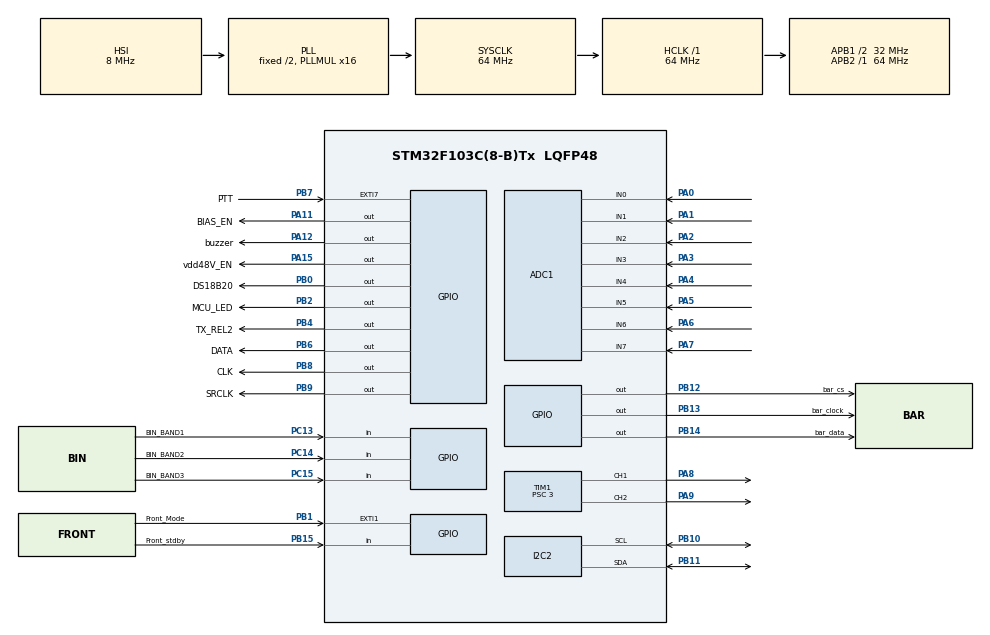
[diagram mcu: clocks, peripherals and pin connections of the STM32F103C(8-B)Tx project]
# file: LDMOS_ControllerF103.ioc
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ADC1.Channel-0\#ChannelRegularConversion=ADC_CHANNEL_0
ADC1.Channel-1\#ChannelRegularConversion=ADC_CHANNEL_1
ADC1.Channel-2\#ChannelRegularConversion=ADC_CHANNEL_2
ADC1.Channel-3\#ChannelRegularConversion=ADC_CHANNEL_3
ADC1.Channel-4\#ChannelRegularConversion=ADC_CHANNEL_4
ADC1.Channel-5\#ChannelRegularConversion=ADC_CHANNEL_5
ADC1.Channel-6\#ChannelRegularConversion=ADC_CHANNEL_6
ADC1.Channel-7\#ChannelRegularConversion=ADC_CHANNEL_7
ADC1.ContinuousConvMode=ENABLE
ADC1.NbrOfConversion=8
ADC1.NbrOfConversionFlag=1
ADC1.Rank-0\#ChannelRegularConversion=1
ADC1.Rank-1\#ChannelRegularConversion=2
ADC1.Rank-2\#ChannelRegularConversion=3
ADC1.Rank-3\#ChannelRegularConversion=4
ADC1.Rank-4\#ChannelRegularConversion=5
ADC1.Rank-5\#ChannelRegularConversion=6
ADC1.Rank-6\#ChannelRegularConversion=7
ADC1.Rank-7\#ChannelRegularConversion=8
ADC1.SamplingTime-0\#ChannelRegularConversion=ADC_SAMPLETIME_28CYCLES_5
ADC1.SamplingTime-1\#ChannelRegularConversion=ADC_SAMPLETIME_28CYCLES_5
ADC1.SamplingTime-2\#ChannelRegularConversion=ADC_SAMPLETIME_28CYCLES_5
ADC1.SamplingTime-3\#ChannelRegularConversion=ADC_SAMPLETIME_28CYCLES_5
ADC1.SamplingTime-4\#ChannelRegularConversion=ADC_SAMPLETIME_28CYCLES_5
ADC1.SamplingTime-5\#ChannelRegularConversion=ADC_SAMPLETIME_28CYCLES_5
ADC1.SamplingTime-6\#ChannelRegularConversion=ADC_SAMPLETIME_28CYCLES_5
ADC1.SamplingTime-7\#ChannelRegularConversion=ADC_SAMPLETIME_28CYCLES_5
ADC1.master=1
Dma.ADC1.0.Direction=DMA_PERIPH_TO_MEMORY
Dma.ADC1.0.Instance=DMA1_Channel1
Dma.ADC1.0.MemDataAlignment=DMA_MDATAALIGN_HALFWORD
Dma.ADC1.0.MemInc=DMA_MINC_ENABLE
Dma.ADC1.0.Mode=DMA_CIRCULAR
Dma.ADC1.0.PeriphDataAlignment=DMA_PDATAALIGN_HALFWORD
Dma.ADC1.0.PeriphInc=DMA_PINC_DISABLE
Dma.ADC1.0.Priority=DMA_PRIORITY_LOW
Dma.I2C2_RX.2.Direction=DMA_PERIPH_TO_MEMORY
Dma.I2C2_RX.2.Instance=DMA1_Channel5
Dma.I2C2_RX.2.MemDataAlignment=DMA_MDATAALIGN_BYTE
Dma.I2C2_RX.2.MemInc=DMA_MINC_ENABLE
Dma.I2C2_RX.2.Mode=DMA_NORMAL
Dma.I2C2_RX.2.PeriphDataAlignment=DMA_PDATAALIGN_BYTE
Dma.I2C2_RX.2.PeriphInc=DMA_PINC_DISABLE
Dma.I2C2_RX.2.Priority=DMA_PRIORITY_LOW
Dma.I2C2_TX.1.Direction=DMA_MEMORY_TO_PERIPH
Dma.I2C2_TX.1.Instance=DMA1_Channel4
Dma.I2C2_TX.1.MemDataAlignment=DMA_MDATAALIGN_BYTE
Dma.I2C2_TX.1.MemInc=DMA_MINC_ENABLE
Dma.I2C2_TX.1.Mode=DMA_NORMAL
Dma.I2C2_TX.1.PeriphDataAlignment=DMA_PDATAALIGN_BYTE
Dma.I2C2_TX.1.PeriphInc=DMA_PINC_DISABLE
Dma.I2C2_TX.1.Priority=DMA_PRIORITY_LOW
Dma.Request0=ADC1
Dma.Request1=I2C2_TX
Dma.Request2=I2C2_RX
FREERTOS.Tasks01=Measure_ADC_Tas,24,128,Measure_ADC_Task,Default,NULL,Dynamic,NULL,NULL;TXRX_Task,24,128,Start_Task_TXRX,Default,NULL,Dynamic,NULL,NULL;LPF_Task,16,128,Start_LPF_Task,Default,NULL,Dynamic,NULL,NULL;Display_Task,8,128,Start_Display_Task,Default,NULL,Dynamic,NULL,NULL
FREERTOS.configUSE_NEWLIB_REENTRANT=1
Mcu.Family=STM32F1
Mcu.Name=STM32F103C(8-B)Tx
Mcu.Package=LQFP48
NVIC.DMA1_Channel1_IRQn=true\:5\:0\:false\:false\:true\:true\:false\:true\:true
NVIC.DMA1_Channel4_IRQn=true\:5\:0\:false\:false\:true\:true\:false\:true\:true
NVIC.DMA1_Channel5_IRQn=true\:5\:0\:false\:false\:true\:true\:false\:true\:true
NVIC.EXTI9_5_IRQn=true\:5\:0\:false\:false\:true\:true\:true\:true\:true
NVIC.I2C2_ER_IRQn=true\:5\:0\:false\:false\:true\:true\:true\:true\:true
NVIC.I2C2_EV_IRQn=true\:5\:0\:false\:false\:true\:true\:true\:true\:true
NVIC.PriorityGroup=NVIC_PRIORITYGROUP_4
NVIC.TIM4_IRQn=true\:15\:0\:false\:false\:true\:false\:false\:true\:true
NVIC.TimeBase=TIM4_IRQn
NVIC.TimeBaseIP=TIM4
PA0-WKUP.Signal=ADCx_IN0
PA1.Signal=ADCx_IN1
PA11.GPIO_Label=BIAS_EN
PA11.Signal=GPIO_Output
PA12.GPIO_Label=buzzer
PA12.GPIO_PuPd=GPIO_PULLDOWN
PA12.Signal=GPIO_Output
PA13.Mode=Serial_Wire
PA13.Signal=SYS_JTMS-SWDIO
PA14.Mode=Serial_Wire
PA14.Signal=SYS_JTCK-SWCLK
PA15.GPIO_Label=vdd48V_EN
PA15.Signal=GPIO_Output
PA2.Signal=ADCx_IN2
PA3.Signal=ADCx_IN3
PA4.Signal=ADCx_IN4
PA5.Signal=ADCx_IN5
PA6.Signal=ADCx_IN6
PA7.Signal=ADCx_IN7
PA8.GPIO_Speed=GPIO_SPEED_FREQ_HIGH
PA8.Signal=S_TIM1_CH1
PA9.GPIO_Speed=GPIO_SPEED_FREQ_HIGH
PA9.Signal=S_TIM1_CH2
PB0.GPIO_Label=DS18B20
PB0.Signal=GPIO_Output
PB1.GPIO_Label=Front_Mode
PB1.GPIO_ModeDefaultEXTI=GPIO_MODE_IT_RISING
PB1.GPIO_PuPd=GPIO_PULLDOWN
PB1.Signal=GPXTI1
PB10.Mode=I2C
PB10.Signal=I2C2_SCL
PB11.Mode=I2C
PB11.Signal=I2C2_SDA
PB12.GPIO_Label=bar_cs
PB12.GPIO_Speed=GPIO_SPEED_FREQ_HIGH
PB12.Signal=GPIO_Output
PB13.GPIO_Label=bar_clock
PB13.GPIO_Speed=GPIO_SPEED_FREQ_HIGH
PB13.Signal=GPIO_Output
PB14.GPIO_Label=bar_data
PB14.GPIO_Speed=GPIO_SPEED_FREQ_HIGH
PB14.Signal=GPIO_Output
PB15.GPIO_Label=Front_stdby
PB15.GPIO_PuPd=GPIO_PULLDOWN
PB15.Signal=GPIO_Input
PB2.GPIO_Label=MCU_LED
PB2.Signal=GPIO_Output
PB4.GPIO_Label=TX_REL2
PB4.Signal=GPIO_Output
PB6.GPIO_Label=DATA
PB6.GPIO_Speed=GPIO_SPEED_FREQ_HIGH
PB6.Signal=GPIO_Output
PB7.GPIO_Label=PTT
PB7.GPIO_ModeDefaultEXTI=GPIO_MODE_IT_RISING
PB7.GPIO_PuPd=GPIO_NOPULL
PB7.Signal=GPXTI7
PB8.GPIO_Label=CLK
PB8.GPIO_Speed=GPIO_SPEED_FREQ_HIGH
PB8.Signal=GPIO_Output
PB9.GPIO_Label=SRCLK
PB9.GPIO_Speed=GPIO_SPEED_FREQ_HIGH
PB9.Signal=GPIO_Output
PC13-TAMPER-RTC.GPIO_Label=BIN_BAND1
PC13-TAMPER-RTC.GPIO_PuPd=GPIO_PULLDOWN
PC13-TAMPER-RTC.Signal=GPIO_Input
PC14-OSC32_IN.GPIO_Label=BIN_BAND2
PC14-OSC32_IN.GPIO_PuPd=GPIO_PULLDOWN
PC14-OSC32_IN.Signal=GPIO_Input
PC15-OSC32_OUT.GPIO_Label=BIN_BAND3
PC15-OSC32_OUT.GPIO_PuPd=GPIO_PULLDOWN
PC15-OSC32_OUT.Signal=GPIO_Input
ProjectManager.HeapSize=0x200
ProjectManager.StackSize=0x400
ProjectManager.TargetToolchain=STM32CubeIDE
RCC.ADCPresc=RCC_ADCPCLK2_DIV8
RCC.AHBFreq_Value=64000000
RCC.APB1CLKDivider=RCC_HCLK_DIV2
RCC.APB1Freq_Value=32000000
RCC.APB1TimFreq_Value=64000000
RCC.APB2Freq_Value=64000000
RCC.APB2TimFreq_Value=64000000
RCC.HCLKFreq_Value=64000000
RCC.PLLMUL=RCC_PLL_MUL16
RCC.SYSCLKFreq_VALUE=64000000
RCC.SYSCLKSource=RCC_SYSCLKSOURCE_PLLCLK
RCC.USBFreq_Value=64000000
SH.ADCx_IN0.0=ADC1_IN0,IN0
SH.ADCx_IN1.0=ADC1_IN1,IN1
SH.ADCx_IN2.0=ADC1_IN2,IN2
SH.ADCx_IN3.0=ADC1_IN3,IN3
SH.ADCx_IN4.0=ADC1_IN4,IN4
SH.ADCx_IN5.0=ADC1_IN5,IN5
SH.ADCx_IN6.0=ADC1_IN6,IN6
SH.ADCx_IN7.0=ADC1_IN7,IN7
SH.S_TIM1_CH1.0=TIM1_CH1,PWM Generation1 CH1
SH.S_TIM1_CH2.0=TIM1_CH2,PWM Generation2 CH2
TIM1.AutoReloadPreload=TIM_AUTORELOAD_PRELOAD_ENABLE
TIM1.Channel-PWM\ Generation1\ CH1=TIM_CHANNEL_1
TIM1.Channel-PWM\ Generation2\ CH2=TIM_CHANNEL_2
TIM1.Period=1000
TIM1.Prescaler=3
TIM2.Prescaler=63
VP_FREERTOS_VS_CMSIS_V2.Mode=CMSIS_V2
VP_SYS_VS_tim4.Mode=TIM4
VP_TIM1_VS_ClockSourceINT.Mode=Internal
VP_TIM2_VS_ClockSourceINT.Mode=Internal
board=custom

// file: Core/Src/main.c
/* USER CODE BEGIN Header */
/**
  ******************************************************************************
  * @file           : main.c
  * @brief          : Main program body
  ******************************************************************************
  * @attention
  *
  * Copyright (c) 2023 STMicroelectronics.
  * All rights reserved.
  *
  * This software is licensed under terms that can be found in the LICENSE file
  * in the root directory of this software component.
  * If no LICENSE file comes with this software, it is provided AS-IS.
  *
  ******************************************************************************
  */
/* USER CODE END Header */
#include "main.h"
#include "cmsis_os.h"
#include "adc.h"
#include "dma.h"
#include "i2c.h"
#include "tim.h"
#include "gpio.h"

/* USER CODE BEGIN Includes */
//#include <stdbool.h>
/* USER CODE BEGIN Includes */
#include "stm32f1xx_hal.h"
#include "74hc595.h"
#include "onewire.h"
#include "ds18b20.h"
#include "lcd_hd44780_i2c.h"
#include "fault_handler_func.h"
#include "globals.h"
/* USER CODE END Includes */

/* USER CODE BEGIN PV */
//ADC DMA Buffer
uint16_t ADC_val[ADC_BUFFER_SIZE];
uint16_t ADC_avg_val[ADC_BUFFER_SIZE];

//Input coupler
float in_fwd_u = 0;
float in_ref_u = 0;
float in_fwd_pwr = 0;
float in_ref_pwr = 0;

//Deck coupler
uint16_t deck_fwd_pwr = 0;
uint16_t deck_ref_pwr = 0;
float deck_swr = 0;

//LPF coupler
uint16_t lpf_fwd_pwr = 0;
uint16_t lpf_ref_pwr = 0;
float lpf_swr = 0;

//Coupler voltages
float deck_fwd_u = 0;
float deck_ref_u = 0;
float lpf_fwd_u = 0;
float lpf_ref_u = 0;

//Power bus
float u_48v = 0;
float i_48v = 0;    //drain current
float i_48v_sensor_u = 0; //ACS current sensor output voltage is half the VCC, reading this is better for accuracy in comparison to 5V/2 because error of linear reg and ADC resolution stacks up to offset real result.
float sensor_vcc = 0; //Take at least one reading when PTT is off

//Sensors
float temperature_arr[_DS18B20_MAX_SENSORS];

//float voltage_test;
//float voltageArray[200];
//float temperaturearray[200];
//uint16_t test_counter = 0;

uint16_t fan_tacho1 = 0;
uint16_t fan_tacho2 = 0;

//Band selection
uint8_t  selected_band = 0;
uint8_t  band_mode = 0;	//TODO simulate EEPROM to save last used mode and band
uint8_t	 mode_read = 0;
float band_analogU = 0;
uint16_t band_analogU_mV = 0;
uint16_t band_man_sel = 0;
bool band_binary_sel[3] = {0};

//Flags
uint16_t fault = 0; //Different number can be set by conditional statement and then handled by separate function
uint8_t bias_flag = 0;
uint8_t ptt_status = 0;
uint8_t stdby_flag = 0;

/* USER CODE END PV */

void SystemClock_Config(void);
void MX_FREERTOS_Init(void);
/* USER CODE BEGIN PFP */

void Enable_bias(){
	HAL_GPIO_WritePin(BIAS_EN_GPIO_Port, BIAS_EN_Pin, GPIO_PIN_SET);
	//bias_flag = 1;
}

void Disable_bias(){
	HAL_GPIO_WritePin(BIAS_EN_GPIO_Port, BIAS_EN_Pin, GPIO_PIN_RESET);
	//bias_flag = 0;
}

int mapRange(int input, int inMin, int inMax, int outMin, int outMax){
	return ((input - inMin) * (outMax - outMin) / (inMax - inMin) + outMin);
}

uint32_t linspace(double start, double end, int numPoints){

   uint32_t* array = (double*)malloc(numPoints * sizeof(double));
    uint8_t step = (end - start) / (numPoints - 1);

    for (int i = 0; i < numPoints; i++) {
        array[i] = start + i * step;
    }

    return array;
}

void Switch_band(uint8_t band){
	ShiftRegister74HC595_setAll(LOW);
	ShiftRegister74HC595_update();

    switch (band) {
        case 1:
            ShiftRegister74HC595_setPin(6, HIGH);
            ShiftRegister74HC595_update();
            break;
        case 2:
            ShiftRegister74HC595_setPin(5, HIGH);
            ShiftRegister74HC595_update();
            break;
        case 3:
            ShiftRegister74HC595_setPin(4, HIGH);
            ShiftRegister74HC595_update();
            break;
        case 4:
            ShiftRegister74HC595_setPin(3, HIGH);
            ShiftRegister74HC595_update();
            break;
        case 5:
            ShiftRegister74HC595_setPin(2, HIGH);
            ShiftRegister74HC595_update();
            break;
        case 6:
            ShiftRegister74HC595_setPin(1, HIGH);
            ShiftRegister74HC595_update();
        default:
            //Fault_handler()
        	break;
    }

}

uint8_t decode_binary_band(bool bin_array[]){ //TODO test this function
    int decimalValue = 0;

    decimalValue = band_binary_sel[0] * 4 + band_binary_sel[1] * 2 + band_binary_sel[2];

        switch (decimalValue) {
            case 0:
                //000
                break;
            case 1:
                //001
                break;
            case 2:
                //010
                break;
            case 3:
                //011
                break;
            case 4:
                //100
                break;
            case 5:
                //101
                break;
            case 6:
                //110
                break;
            case 7:
                //111
                break;
            default:

                break;
        }

        return decimalValue;

    /*
    for (int i = 0; i < 3; ++i) {
        if (bin_array[i]) {
            decimalValue += (1 << (2 - i)); // Convert binary to decimal
        }
    }

    return decimalValue + 1; //get value in range
    */
}

//Important conditions are set by interrupts
void HAL_GPIO_EXTI_Callback(uint16_t GPIO_Pin)
{
	if (GPIO_Pin == 2){ // External interrupt from mode button on the front panel
		mode_read ++; //Works as counter then it can be determined how long the interrupt pulse was?
	    if (band_mode <= 3) {
	        band_mode++; // Change mode on every press of a button
	    }
	    if (band_mode > 3) {
	        band_mode = 1; // Roll over to the first mode after three presses
	    }
	}

    if(GPIO_Pin == 128) {
        ptt_status = 1;
    }

    if(GPIO_Pin = 1){
    	//TODO replace with HAL read in task, bistable to monostable circuitry can be added to tact switch.
    	//stdby_flag = 1; //this will require something to set it back to zero after second press, use similar logic to mode but 2 states?
    }
    else {
    	//Undefined interrupt number

    }

}

uint32_t roundToDecimalPlaces(double number, int decimalPlaces) {
	uint32_t multiplier = pow(10.0, decimalPlaces);
	uint32_t roundedNumber = round(number * multiplier) / multiplier;
    return roundedNumber;
}

void Display_digits(uint8_t x, uint8_t y, uint32_t dispnum){
	//Displays number as a string of digits, x is column y is row of a display
	char str[4];

	lcdSetCursorPosition(x, y);

	snprintf(str, sizeof(str), "%d", dispnum);

	if(dispnum >= 100){
		lcdPrintStr((uint8_t*) str, 3);
	}
	if((dispnum < 100) && (dispnum >= 10)){
		lcdPrintStr((uint8_t*) str, 2);
	}
	if((dispnum < 10)){
		lcdPrintStr((uint8_t*) str, 1);
	}
}

/* USER CODE END PFP */

int main(void)
{

  /* MCU Configuration--------------------------------------------------------*/

  /* Reset of all peripherals, Initializes the Flash interface and the Systick. */
  HAL_Init();

  /* Configure the system clock */
  SystemClock_Config();

  /* Initialize all configured peripherals */
  MX_GPIO_Init();
  MX_DMA_Init();
  MX_ADC1_Init();
  MX_TIM1_Init();
  MX_TIM2_Init();
  MX_I2C2_Init();
  /* USER CODE BEGIN 2 */
  HAL_GPIO_WritePin(GPIOA, GPIO_PIN_9, GPIO_PIN_RESET); //Set PSU fan to low

  HAL_Delay(100);

  DS18B20_Init(DS18B20_Resolution_12bits);
  HAL_GPIO_WritePin(buzzer_GPIO_Port, buzzer_Pin, SET);
  HAL_Delay(1000);
  HAL_GPIO_WritePin(buzzer_GPIO_Port, buzzer_Pin, RESET);

  /* USER CODE END 2 */

  /* Init scheduler */
  osKernelInitialize();  /* Call init function for freertos objects (in freertos.c) */
  MX_FREERTOS_Init();

  /* Start scheduler */
  osKernelStart();
  /* We should never get here as control is now taken by the scheduler */
  /* Infinite loop */
  while (1)
  {

  }
}

void SystemClock_Config(void)
{
  RCC_OscInitTypeDef RCC_OscInitStruct = {0};
  RCC_ClkInitTypeDef RCC_ClkInitStruct = {0};
  RCC_PeriphCLKInitTypeDef PeriphClkInit = {0};

  /** Initializes the RCC Oscillators according to the specified parameters
  * in the RCC_OscInitTypeDef structure.
  */
  RCC_OscInitStruct.OscillatorType = RCC_OSCILLATORTYPE_HSI;
  RCC_OscInitStruct.HSIState = RCC_HSI_ON;
  RCC_OscInitStruct.HSICalibrationValue = RCC_HSICALIBRATION_DEFAULT;
  RCC_OscInitStruct.PLL.PLLState = RCC_PLL_ON;
  RCC_OscInitStruct.PLL.PLLSource = RCC_PLLSOURCE_HSI_DIV2;
  RCC_OscInitStruct.PLL.PLLMUL = RCC_PLL_MUL16;
  if (HAL_RCC_OscConfig(&RCC_OscInitStruct) != HAL_OK)
  {
    Error_Handler();
  }

  /** Initializes the CPU, AHB and APB buses clocks
  */
  RCC_ClkInitStruct.ClockType = RCC_CLOCKTYPE_HCLK|RCC_CLOCKTYPE_SYSCLK
                              |RCC_CLOCKTYPE_PCLK1|RCC_CLOCKTYPE_PCLK2;
  RCC_ClkInitStruct.SYSCLKSource = RCC_SYSCLKSOURCE_PLLCLK;
  RCC_ClkInitStruct.AHBCLKDivider = RCC_SYSCLK_DIV1;
  RCC_ClkInitStruct.APB1CLKDivider = RCC_HCLK_DIV2;
  RCC_ClkInitStruct.APB2CLKDivider = RCC_HCLK_DIV1;

  if (HAL_RCC_ClockConfig(&RCC_ClkInitStruct, FLASH_LATENCY_2) != HAL_OK)
  {
    Error_Handler();
  }
  PeriphClkInit.PeriphClockSelection = RCC_PERIPHCLK_ADC;
  PeriphClkInit.AdcClockSelection = RCC_ADCPCLK2_DIV8;
  if (HAL_RCCEx_PeriphCLKConfig(&PeriphClkInit) != HAL_OK)
  {
    Error_Handler();
  }
}

void HAL_TIM_PeriodElapsedCallback(TIM_HandleTypeDef *htim)
{
  if (htim->Instance == TIM4) {
    HAL_IncTick();
  }
}

void Error_Handler(void)
{
  __disable_irq();
  while (1)
  {
  }
}

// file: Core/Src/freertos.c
/* USER CODE BEGIN Header */
/**
  ******************************************************************************
  * File Name          : freertos.c
  * Description        : Code for freertos applications
  ******************************************************************************
  * @attention
  *
  * Copyright (c) 2023 STMicroelectronics.
  * All rights reserved.
  *
  * This software is licensed under terms that can be found in the LICENSE file
  * in the root directory of this software component.
  * If no LICENSE file comes with this software, it is provided AS-IS.
  *
  ******************************************************************************
  */
/* USER CODE END Header */

#include "FreeRTOS.h"
#include "task.h"
#include "main.h"
#include "cmsis_os.h"

/* USER CODE BEGIN Includes */
#include "stm32f1xx_hal.h"
#include "74hc595.h"
#include "main.h"
#include "cmsis_os.h"
#include "adc.h"
#include "dma.h"
#include "tim.h"
#include "gpio.h"
#include "semphr.h"
#include "onewire.h"
#include "ds18b20.h"
#include "globals.h"
#include "i2c.h"
#include "math.h"

#include "lcd_hd44780_i2c.h"
#include "fault_handler_func.h"
//#include "liquidcrystal_i2c.h"

/* USER CODE END Includes */

/* USER CODE BEGIN Variables */

float temperature;

float Calculate_SWR(uint16_t fwd_pwr, uint16_t ref_pwr){
	if((fwd_pwr == 0) || (ref_pwr == 0)){
		return 1;
	}

	float swr = 0;
	swr = (1 + sqrt(ref_pwr / fwd_pwr)) / (1  - sqrt(ref_pwr / fwd_pwr));
	return swr;
}

void Display_float_digit(uint8_t x, uint8_t y, float dispnum){
	if(dispnum < 100){
	    int integerPart;
	    int decimalPart;

	    //splitFloat(dispnum, &integerPart, &decimalPart);

	    integerPart = (int) dispnum;
	    decimalPart = (int)((dispnum - integerPart) * 100);

		char str_int[3];
		char str_dec[3];
		lcdCursorHome();
		lcdSetCursorPosition(x, y);
		//snprintf(str_int, sizeof(str_int), "%d", integerPart);

		if(dispnum == 100){
			lcdPrintStr((uint8_t*) str_int, 3);
		}
		if((dispnum < 100) && (dispnum >= 10)){
			//lcdPrintStr((uint8_t*) str_int, 2);
			lcdSetCursorPosition(x+2, y);
			lcdPrintStr((uint8_t*) ".", 1);

			decimalPart = decimalPart/10;
			//decimalPart = roundToDecimalPlaces(decimalPart, 1);
			snprintf(str_dec, sizeof(str_dec), "%d", decimalPart);

			lcdSetCursorPosition(x+3, y);
			lcdPrintStr((uint8_t*) str_dec, 1);
		}
		if((dispnum < 10) && (dispnum >= 1)){
			//lcdPrintStr((uint8_t*) str_int[0], 1);
			lcdSetCursorPosition(x+1, y);
			lcdPrintStr((uint8_t*) ".", 1);

			decimalPart = (int)((dispnum - integerPart) * 100);
			//decimalPart = roundToDecimalPlaces(decimalPart, 2);
			snprintf(str_dec, sizeof(str_dec), "%d", decimalPart);

			lcdSetCursorPosition(x+2, y);
			lcdPrintStr((uint8_t*) str_dec, 2);
		}
		if(dispnum < 1){
			lcdPrintStr((uint8_t*) "0.", 2);

			decimalPart = (int)((dispnum - integerPart) * 100);
			//decimalPart = roundToDecimalPlaces(decimalPart, 3);
			snprintf(str_dec, sizeof(str_dec), "%d", decimalPart);

			lcdSetCursorPosition(x+2, y);
			lcdPrintStr((uint8_t*) str_dec, 2);
		}

	}
	Display_digits(x, y, (int) dispnum);
}

void PSU_Set_Fan_Speed(float temperature, uint16_t minPWM, uint16_t maxPWM) {
    // Calculate the desired PWM value based on the temperature
    // You would need to implement your own logic to map temperature to PWM
    // For the sake of example, let's assume a linear mapping
	uint16_t max_temp = 60;
	uint16_t min_temp = 0;

    uint16_t temperatureRange = max_temp - min_temp;
    uint16_t pwmRange = maxPWM - minPWM;
    uint16_t pwmPercentage = ((temperature - min_temp) / temperatureRange) * 100.0;
    uint16_t pwmValue = (uint16_t)((pwmPercentage / 100.0) * pwmRange) + minPWM;

    // Ensure the PWM value is within bounds
    if (pwmValue < minPWM) {
        pwmValue = minPWM;
    } else if (pwmValue > maxPWM) {
        pwmValue = maxPWM;
    }

    // Update the PWM duty cycle
    TIM1->CCR2 = pwmValue;  // Assuming you're controlling PWM on channel 2 of TIM1
}

void HS_Set_Fan_Speed(float temperature, uint16_t minPWM, uint16_t maxPWM) {
	    // Calculate the desired PWM value based on the temperature
	    // You would need to implement your own logic to map temperature to PWM
	    // For the sake of example, let's assume a linear mapping
		uint16_t max_temp = 60;
		uint16_t min_temp = 0;
		uint16_t temperatureRange = max_temp - min_temp;
		uint16_t pwmRange = maxPWM - minPWM;
		uint16_t pwmPercentage = 100.0 - ((temperature - min_temp) / temperatureRange) * 100.0;
	    uint16_t pwmValue = (uint16_t)((pwmPercentage / 100.0) * pwmRange) + minPWM;

	    // Ensure the PWM value is within bounds
	    if (pwmValue < minPWM) {
	        pwmValue = minPWM;
	    } else if (pwmValue > maxPWM) {
	        pwmValue = maxPWM;
	    }

	    // Update the specified PWM duty cycle (CCR)
	    TIM1->CCR1 = pwmValue;  // Assuming you're controlling PWM on channel 2 of TIM1
	}

void write_byte(uint8_t byte)
{
  for(int i=0;i<8;i++)
  {
     HAL_GPIO_WritePin(bar_clock_GPIO_Port, bar_clock_Pin, 0);  // Pull the CLK LOW
     HAL_GPIO_WritePin(bar_data_GPIO_Port, bar_data_Pin, byte&0x80);// Write one BIT data MSB first
     byte = byte<<1;  // shift the data to the left
     HAL_GPIO_WritePin(bar_clock_GPIO_Port, bar_clock_Pin, 1);  // Pull the CLK HIGH
  }
}

void write_max (uint8_t address, uint8_t data)
{
    HAL_GPIO_WritePin(bar_cs_GPIO_Port, bar_cs_Pin, 0);   // Pull the CS pin LOW
    write_byte(address);   //  write address
    write_byte(data);  //  write data
    HAL_GPIO_WritePin(bar_cs_GPIO_Port, bar_cs_Pin, 1);  // pull the CS HIGH
}

void max_init(void)
{
 write_max(0x09, 0x00);       //  no decoding
 write_max(0x0a, 0x03);       //  brightness intensity
 write_max(0x0b, 0x07);       //  scan limit = 8 LEDs
 write_max(0x0c, 0x01);       //  power down =0，normal mode = 1
 write_max(0x0f, 0x00);       //  no test display
}

void display_pixels_consecutively() {
    for (int row = 0; row < 8; row++) {
        for (int col = 0; col < 8; col++) {
            uint8_t columnData = 0;
            columnData |= (1 << col); // Set the bit for the current column

            // Clear the previous column
            for (int clearCol = 0; clearCol < 8; clearCol++) {
                write_max(clearCol + 1, 0); // Clear column data in the row registers
            }

            // Write the new column data
            write_max(row + 1, columnData);
            HAL_Delay(100); // Delay for visualization (adjust as needed)
        }
    }
}

void bar_graph_power(uint8_t value) {
    if (value > 64) {
        value = 64; // Limit the value to the number of LEDs available (8x8 matrix)
    }

    uint8_t matrixBuffer[8] = {0}; // Initialize the matrix buffer

    // Calculate the number of full rows and the remaining pixel
    uint8_t fullRows = value / 8;
    uint8_t remainingPixels = value % 8;

    // Set the pixels in the full rows
    for (int row = 0; row < fullRows; row++) {
        matrixBuffer[row] = 0xFF; // Set all pixels in the row
    }

    // Set the remaining pixels in the next row
    matrixBuffer[fullRows] = (0xFF >> (8 - remainingPixels));

    // Update the LED matrix with the buffer
    for (int row = 0; row < 8; row++) {
        write_max(row + 1, matrixBuffer[row]); // Display the row data
    }
}

void split_bar_graph(uint8_t section1Value, uint8_t section2Value, uint8_t section3Value) {
    uint8_t matrixBuffer[8] = {0}; // Initialize the matrix buffer

    // Set the pixels in the first section
    for (int i = 0; i < section1Value; i++) {
        int row = i / 8;
        int col = i % 8;
        matrixBuffer[row] |= (1 << col);
    }

    // Set the pixels in the second section
    for (int i = 0; i < section2Value; i++) {
        int row = (i + 32) / 8;
        int col = (i + 32) % 8;
        matrixBuffer[row] |= (1 << col);
    }

    // Set the pixels in the third section
    for (int i = 0; i < section3Value; i++) {
        int row = (i + 48) / 8;
        int col = (i + 48) % 8;
        matrixBuffer[row] |= (1 << col);
    }

    // Update the LED matrix with the buffer
    for (int row = 0; row < 8; row++) {
        write_max(row + 1, matrixBuffer[row]); // Display the row data
    }
}

float Map_float(float val, float I_Min, float I_Max, float O_Min, float O_Max){
		return(((val-I_Min)*((O_Max-O_Min)/(I_Max-I_Min)))+O_Min);
   }

float convertADCtoCurrent(uint16_t ADC_avg_val) {
    // Calculate the voltage from the ADC reading
    float voltage = ((float)ADC_avg_val / 4095) * 3.3;

    // Calculate the voltage offset (Vcc/2) due to zero current
    float zeroCurrentVoltage = 2.5;

    // Calculate the voltage difference from zero current
    float voltageDifference = voltage - zeroCurrentVoltage;

    // Convert the voltage difference to current (in Amperes)
    float current = voltageDifference / (66 / 1000.0) + 0.75; // Convert mV to V

    return current;
}

float adcValueToVoltage(uint16_t adcValue) {
    // Assuming a 3.3V reference voltage and a 12-bit ADC
    float referenceVoltage = 3.3;
    uint16_t maxADCValue = 4095;

    // Calculate the voltage using the formula: voltage = (adcValue / maxADCValue) * referenceVoltage
    float voltage = (float)adcValue / (float)maxADCValue * referenceVoltage;

    return voltage;
}

uint8_t Map_voltage_band(uint32_t analog_U){
	if(analog_U <= 250){
		return 1;	//160 m
	}
	if((analog_U > 250) && (analog_U <= 500)){
		return 2;	//80 m
	}
	if((analog_U > 750) && (analog_U <= 1250)){
		return 3;	//40-30 m
	}
	if((analog_U > 1250) && (analog_U <= 1650)){
		return 4;	//20-17 m
	}
	if((analog_U > 1650) && (analog_U <= 2500)){
		return 5;	//15-10 m
	}
	if(analog_U > 2500){
		return 6;	//6 m
	}

}

/* USER CODE END Variables */
/* Definitions for Measure_ADC_Tas */
osThreadId_t Measure_ADC_TasHandle;
const osThreadAttr_t Measure_ADC_Tas_attributes = {
  .name = "Measure_ADC_Tas",
  .stack_size = 128 * 4,
  .priority = (osPriority_t) osPriorityNormal,
};
/* Definitions for TXRX_Task */
osThreadId_t TXRX_TaskHandle;
const osThreadAttr_t TXRX_Task_attributes = {
  .name = "TXRX_Task",
  .stack_size = 128 * 4,
  .priority = (osPriority_t) osPriorityNormal,
};
/* Definitions for LPF_Task */
osThreadId_t LPF_TaskHandle;
const osThreadAttr_t LPF_Task_attributes = {
  .name = "LPF_Task",
  .stack_size = 128 * 4,
  .priority = (osPriority_t) osPriorityBelowNormal,
};
/* Definitions for Display_Task */
osThreadId_t Display_TaskHandle;
const osThreadAttr_t Display_Task_attributes = {
  .name = "Display_Task",
  .stack_size = 128 * 4,
  .priority = (osPriority_t) osPriorityLow,
};

void Measure_ADC_Task(void *argument);
void Start_Task_TXRX(void *argument);
void Start_LPF_Task(void *argument);
void Start_Display_Task(void *argument);

void MX_FREERTOS_Init(void); /* (MISRA C 2004 rule 8.1) */

void MX_FREERTOS_Init(void) {

  /* Create the thread(s) */
  /* creation of Measure_ADC_Tas */
  Measure_ADC_TasHandle = osThreadNew(Measure_ADC_Task, NULL, &Measure_ADC_Tas_attributes);

  /* creation of TXRX_Task */
  TXRX_TaskHandle = osThreadNew(Start_Task_TXRX, NULL, &TXRX_Task_attributes);

  /* creation of LPF_Task */
  LPF_TaskHandle = osThreadNew(Start_LPF_Task, NULL, &LPF_Task_attributes);

  /* creation of Display_Task */
  Display_TaskHandle = osThreadNew(Start_Display_Task, NULL, &Display_Task_attributes);

}

void Measure_ADC_Task(void *argument)
{
  /* USER CODE BEGIN Measure_ADC_Task */
	  uint32_t temp[ADC_BUFFER_SIZE] = {0};
	  uint16_t counter = 0; 		//Keep track for average for ADC
	  uint16_t counter_temp = 0;	//Read temperature only when counter is reached

		SemaphoreHandle_t xSemaphore;
		xSemaphore = xSemaphoreCreateMutex();

	  //Start DMA reading to a buffer
	  HAL_ADC_Start_DMA(&hadc1, (uint32_t*)ADC_val, ADC_BUFFER_SIZE);

	  HAL_TIM_PWM_Start(&htim1, TIM_CHANNEL_1);
	  HAL_TIM_PWM_Start(&htim1, TIM_CHANNEL_2);

  /* Infinite loop */
  for(;;)
  {

	//Calculate average of readings
	  //Note, can remove noise but M3 does not have an FPU so small amount of averaging is used.
	for(int i = 0; i < ADC_BUFFER_SIZE; i++){
		temp[i] += ADC_val[i];
	}
	counter++;

	if(counter == AVG_TIMES){

		for(int i = 0; i < ADC_BUFFER_SIZE; i++){
			ADC_avg_val[i] = temp[i]/AVG_TIMES;
			temp[i] = 0;
		}
		counter = 0;

		//Map the measured values to global variables
		band_analogU = adcValueToVoltage(ADC_avg_val[0]);
		band_analogU_mV =  1000 * band_analogU;

		deck_fwd_u = adcValueToVoltage(ADC_avg_val[2]);
		deck_fwd_pwr = (22.8 * pow(deck_fwd_u, 2)) + (10.13 * deck_fwd_u) - 8.54; //Apply trend line measured from coupler

		//deck_fwd_pwr = mapRange(ADC_avg_val[2], 0, 4096, 0, 600);
		deck_ref_pwr = mapRange(ADC_avg_val[1], 0, 4096, 0, 600); //TODO calibrate with known mismatch later

		//lpf_fwd_pwr = mapRange(ADC_avg_val[3], 0, 4096, 0, 600);
		lpf_fwd_u = adcValueToVoltage(ADC_avg_val[3]);
		lpf_fwd_pwr = (113 * pow(lpf_fwd_u, 2)) - (11.5 * lpf_fwd_u) + 11.6;

		lpf_ref_pwr = mapRange(ADC_avg_val[4], 0, 4096, 0, 600);

		u_48v = 18.837 * adcValueToVoltage(ADC_avg_val[5]); //Map_float(ADC_avg_val[5], 0, 4096, 0, 60);
		//i_48v = Map_float(ADC_avg_val[6], 1948, 4096, 0, 30); //seems that small change in 5v rail can offset this result. 2048 because output is Vcc/2 + 66 mV/A
		//i_48v = convertADCtoCurrent(ADC_avg_val[6]);

		if(ptt_status == 0){
			sensor_vcc = adcValueToVoltage(ADC_avg_val[6]);
		}

		i_48v_sensor_u = adcValueToVoltage(ADC_avg_val[6]);
		i_48v = (i_48v_sensor_u - sensor_vcc) / 0.066;

		in_fwd_u = adcValueToVoltage(ADC_avg_val[7]);
		in_fwd_pwr = (6.23 * pow(in_fwd_u, 2)) + (1.24 * in_fwd_u);

	}

	lpf_swr = Calculate_SWR(lpf_fwd_pwr, lpf_ref_pwr);
	deck_swr = Calculate_SWR(deck_ref_pwr, deck_ref_pwr);

	//Reading temperature
	if(counter_temp > 100){
		//This delays reading time for one wire to say in spec, proper way would be to use timer for interrupt and callback, alternatively another rtos task on better mcu
		  DS18B20_ReadAll();
		  DS18B20_StartAll();
		  uint8_t ROM_tmp[8];
		  uint8_t i;

		    for (uint8_t i = 0; i < DS18B20_Quantity(); i++)
		    {
		        if (DS18B20_GetTemperature(i, &temperature_arr[i]))
		        {
		            DS18B20_GetROM(i, ROM_tmp);
		        }
		    }
		  counter_temp = 0;
		  HS_Set_Fan_Speed(temperature_arr[1], 600, 1000);
		  PSU_Set_Fan_Speed(temperature_arr[1], 220, 650);

	}
	counter_temp++;

	//voltage_test = adcValueToVoltage(ADC_avg_val[1]);

	stdby_flag = HAL_GPIO_ReadPin(Front_stdby_GPIO_Port, Front_stdby_Pin);

	if(i_48v > MAX_I){
		fault_handler(1);
	}
	if(u_48v > MAX_U){
		fault_handler(2);
	}
	if ((temperature_arr[1] > MAX_TEMP) || (temperature_arr[0] > MAX_TEMP)) {
	    fault_handler(3);
	}
	if(in_fwd_pwr > MAX_IN_PWR){
		fault_handler(5);
	}
	if(deck_fwd_pwr > MAX_FWD_PWR){
		fault_handler(6);
	}
	if(deck_ref_pwr > MAX_Deck_ref){
		fault_handler(7);
	}
	if(deck_ref_pwr > MAX_REF_PWR){
		fault_handler(8);
	}
	if((deck_fwd_pwr - lpf_fwd_pwr) > MAX_LPF_LOSS){
		fault_handler(9);
	}

    osDelay(1);
  }
  /* USER CODE END Measure_ADC_Task */
}

void Start_Task_TXRX(void *argument)
{
  /* USER CODE BEGIN Start_Task_TXRX */
	uint8_t ptt_read = 0;

	HAL_GPIO_WritePin(vdd48V_EN_GPIO_Port, vdd48V_EN_Pin, GPIO_PIN_RESET);
	bias_flag = 0;
	osDelay(1000); //This gives time for measurement to kick in etc...

  /* Infinite loop */
  for(;;)
  {
	if(ptt_status == 1){ //Switch to TX
		HAL_GPIO_WritePin(MCU_LED_GPIO_Port, MCU_LED_Pin, GPIO_PIN_SET);
		HAL_GPIO_WritePin(TX_REL2_GPIO_Port, TX_REL2_Pin, GPIO_PIN_SET);
		vTaskSuspend(LPF_TaskHandle);
		osDelay(100);
		HAL_GPIO_WritePin(BIAS_EN_GPIO_Port, BIAS_EN_Pin, GPIO_PIN_SET);
		HAL_GPIO_WritePin(vdd48V_EN_GPIO_Port, vdd48V_EN_Pin, GPIO_PIN_SET);

	}

	ptt_read = HAL_GPIO_ReadPin(PTT_GPIO_Port, PTT_Pin);

	if((ptt_status == 1) && (ptt_read == 0)){ //Switch back to RX
		HAL_GPIO_WritePin(BIAS_EN_GPIO_Port, BIAS_EN_Pin, GPIO_PIN_RESET);
		HAL_GPIO_WritePin(vdd48V_EN_GPIO_Port, vdd48V_EN_Pin, GPIO_PIN_RESET);
		osDelay(100);
		HAL_GPIO_WritePin(TX_REL2_GPIO_Port, TX_REL2_Pin, GPIO_PIN_RESET);
		HAL_GPIO_WritePin(MCU_LED_GPIO_Port, MCU_LED_Pin, GPIO_PIN_RESET);
		vTaskResume(LPF_TaskHandle);
		ptt_status = 0;
	}

    osDelay(1);
  }
  /* USER CODE END Start_Task_TXRX */
}

void Start_LPF_Task(void *argument)
{
  /* USER CODE BEGIN Start_LPF_Task */
  /* Infinite loop */
	  uint8_t current_band = 0;
	  //Read last band from EEPROM?
	  ShiftRegister74HC595_setAll(LOW);
	  ShiftRegister74HC595_update();

  for(;;)
  {

	    switch(band_mode) {
	        case 1:
	            //Analog voltage band selection
	        	//detect if band has changed
	        	selected_band = Map_voltage_band(band_analogU_mV);
	        	if(selected_band != current_band){
	        		Switch_band(selected_band);
	        		current_band = selected_band;
	        	}

	            break;
	        case 2:
	            //3-bit band selection
	        	band_binary_sel[0] = HAL_GPIO_ReadPin(BIN_BAND1_GPIO_Port, BIN_BAND1_Pin);
	        	band_binary_sel[1] = HAL_GPIO_ReadPin(BIN_BAND2_GPIO_Port, BIN_BAND2_Pin);
	        	band_binary_sel[2] = HAL_GPIO_ReadPin(BIN_BAND3_GPIO_Port, BIN_BAND3_Pin);
	        	selected_band = decode_binary_band(band_binary_sel);

	        	if(current_band != selected_band){ 		//Switch band only if settings has changed
	        		Switch_band(selected_band);
	        		current_band = selected_band;
	        	}

	            break;
	        case 3:
	            //Manual band selection, binary from front panel takes the same format so just multiplex between the two as inputs to case 2?

	            break;
	        //case 4:
	            //Automatic band selection - option for later with frequency counter
	            break;
	        default:
	            //Undefined behavior
	        	//fault_handler();  //TODO write fault handler and pass error code
	        	break;
	    }

	  //Test all the bands
	  /*
		ShiftRegister74HC595_setAll(LOW);
		ShiftRegister74HC595_update();

	  ShiftRegister74HC595_setPin(0, HIGH);
	  ShiftRegister74HC595_update();
	  ShiftRegister74HC595_setPin(0, LOW);
	  ShiftRegister74HC595_update();

	  ShiftRegister74HC595_setPin(5, HIGH); //6 m
	  ShiftRegister74HC595_update();
	  ShiftRegister74HC595_setPin(5, LOW);
	  ShiftRegister74HC595_update();

	  ShiftRegister74HC595_setPin(2, HIGH); //15-10 m
	  ShiftRegister74HC595_update();
	  ShiftRegister74HC595_setPin(2, LOW);
	  ShiftRegister74HC595_update();

	  ShiftRegister74HC595_setPin(3, HIGH); //20-17 m
	  ShiftRegister74HC595_update();
	  ShiftRegister74HC595_setPin(3, LOW);
	  ShiftRegister74HC595_update();

	  ShiftRegister74HC595_setPin(4, HIGH); //40 m
	  ShiftRegister74HC595_update();
	  ShiftRegister74HC595_setPin(4, LOW); //Stops working here?
	  ShiftRegister74HC595_update();

	  ShiftRegister74HC595_setPin(5, HIGH);
	  ShiftRegister74HC595_update();
	  ShiftRegister74HC595_setPin(5, LOW); //80 m
	  ShiftRegister74HC595_update();

	  ShiftRegister74HC595_setPin(6, HIGH); //160 m
	  ShiftRegister74HC595_update();
	  ShiftRegister74HC595_setPin(6, LOW);
	  ShiftRegister74HC595_update();
		ShiftRegister74HC595_setAll(LOW);
		ShiftRegister74HC595_update();
		*/

    osDelay(10);
  }
  /* USER CODE END Start_LPF_Task */
}

void Start_Display_Task(void *argument)
{
  /* USER CODE BEGIN Start_Display_Task */

	uint8_t last_band, last_mode;
	uint16_t tx_disp_counter = 0; //TODO use later to detect whether to update the display

	lcdInit(&hi2c2, (uint8_t)0x27, (uint8_t)2, (uint8_t)20);
	lcdBacklightOn();
	lcdDisplayOn();

	lcdPrintStr((uint8_t*)"   FORTE 600W", 13);
	lcdSetCursorPosition(0, 2);
	lcdPrintStr((uint8_t*)"    LDMOS HF", 12);
	osDelay(2000);
	lcdDisplayClear();
	lcdPrintStr((uint8_t*)"   FORTE 600W", 13);
	lcdSetCursorPosition(0, 2);
	lcdPrintStr((uint8_t*)" AMPLIFIER v1.0", 15);
	osDelay(2000);
	lcdDisplayClear();
	lcdPrintStr((uint8_t*)"   FORTE 600W", 13);
	lcdSetCursorPosition(0, 2);
	lcdPrintStr((uint8_t*)"     SP6GK", 10);
	osDelay(2000);

	max_init();

	uint8_t bar_pwr = 0;
	uint8_t bar_swr = 0;
	uint8_t bar_amp = 0;

  /* Infinite loop */
  for(;;)
  {

	//split_bar_graph(pwr, swr, amp)
	split_bar_graph(0, 0, 0); //Clear bargraph display

	lcdCursorHome();

	lcdDisplayClear();

	if((ptt_status == 0) && (stdby_flag == 0)){
		split_bar_graph(0, 0, 0); //Clear bargraph display
		lcdPrintStr((uint8_t*)" BAND  M", 8);
		//print selected band
	    switch (selected_band) {
	        case 6:
	        	lcdSetCursorPosition(0, 2);
	        	lcdPrintStr((uint8_t*)"  6m", 4);

	            break;
	        case 5:
	        	lcdSetCursorPosition(0, 2);
	        	lcdPrintStr((uint8_t*)"15-10m", 6);

	            break;
	        case 4:
	        	lcdSetCursorPosition(0, 2);
	        	lcdPrintStr((uint8_t*)"20-17m", 6);

	            break;
	        case 3:
	        	lcdSetCursorPosition(0, 2);
	        	lcdPrintStr((uint8_t*)"40-30m", 6);

	            break;
	        case 2:
	        	lcdSetCursorPosition(0, 2);
	        	lcdPrintStr((uint8_t*)" 80m", 4);
	        	break;

	        case 1:
	        	lcdSetCursorPosition(0, 2);
	        	lcdPrintStr((uint8_t*)"160m", 4);
	        	break;

	        default:
	            //Fault_handler()
	        	break;
	    }

		//print mode
	    switch(band_mode){
	    	case 1:
	    		lcdSetCursorPosition(7, 2);
	    		lcdPrintStr((uint8_t*)"V", 1);	//Analog Voltage
	    		break;
	    	case 2:
	    		lcdSetCursorPosition(7, 2);
	    		lcdPrintStr((uint8_t*)"M", 1);	//Manual
	    		break;
	    	case 3:
	    		lcdSetCursorPosition(7, 2);
	    		lcdPrintStr((uint8_t*)"B", 1); //Binary
	    		break;
	    	case 4:
	    		lcdSetCursorPosition(7, 2);
	    		lcdPrintStr((uint8_t*)"A", 1); //Automatic
	    		break;

	    	default:
	    		//
	    		break;
	    }

	    //print temperature
		lcdSetCursorPosition(10, 0);
		lcdPrintStr((uint8_t*)"T1", 2);
		Display_digits(13, 0, (int) temperature_arr[0]);

		lcdSetCursorPosition(10, 1);
		lcdPrintStr((uint8_t*)"T2", 2);
		Display_digits(13, 1, (int) temperature_arr[1]);

		lcdSetCursorPosition(15, 0);
		lcdPrintStr((uint8_t*)"C", 1);
		lcdSetCursorPosition(15, 1);
		lcdPrintStr((uint8_t*)"C", 1);

	}

	if(stdby_flag == 1){
		lcdDisplayClear();
		//Print standby mode (or maybe beside analog / binary/ manual add standby?)
		lcdSetCursorPosition(0, 0);
		lcdPrintStr((uint8_t*)"   FORTE 600", 12);
		lcdSetCursorPosition(0, 2);
		lcdPrintStr((uint8_t*)"Stand by", 8);
	}
	if(ptt_status == 1){
		//TX display
		lcdDisplayClear();
		//Display_float_digit(0, 0, temperature);

		  bar_pwr = mapRange(lpf_fwd_pwr, 0, 600, 0, 30);
		  bar_swr = Map_float(lpf_swr, 0, 3, 0, 10);
		  if(bar_swr > 10){
			  bar_swr = 10;
		  }
		  bar_amp = mapRange((int) i_48v, 0, 30, 0, 10);
		  split_bar_graph(bar_pwr, bar_swr, bar_amp);

		tx_disp_counter ++; // change display on left from drain monitoring to temperature
		if(tx_disp_counter < 10){
			lcdSetCursorPosition(0, 0);
			lcdPrintStr((uint8_t*)"U", 1);
			Display_float_digit(2, 0, u_48v);

			lcdSetCursorPosition(0, 1);
			lcdPrintStr((uint8_t*)"I", 1);
			Display_float_digit(2, 1, i_48v);

			lcdSetCursorPosition(6, 0);
			lcdPrintStr((uint8_t*)"V", 1);
			lcdSetCursorPosition(6, 1);
			lcdPrintStr((uint8_t*)"A", 1);
		}
		if(tx_disp_counter >= 10){
			lcdSetCursorPosition(0, 0);
			lcdPrintStr((uint8_t*)"T1", 2);
			Display_digits(3, 0, (int) temperature_arr[0]);

			lcdSetCursorPosition(0, 1);
			lcdPrintStr((uint8_t*)"T2", 2);
			Display_digits(3, 1, (int) temperature_arr[1]);

			lcdSetCursorPosition(6, 0);
			lcdPrintStr((uint8_t*)"C", 1);
			lcdSetCursorPosition(6, 1);
			lcdPrintStr((uint8_t*)"C", 1);
		}
		if(tx_disp_counter == 20){
			tx_disp_counter = 0;
		}

		lcdSetCursorPosition(8, 0);
		lcdPrintStr((uint8_t*)"PWR", 3);
		lcdSetCursorPosition(8, 1);
		lcdPrintStr((uint8_t*)"SWR", 3);

		Display_digits(12, 0, lpf_fwd_pwr);
		Display_float_digit(12, 1, lpf_swr);

		lcdSetCursorPosition(15, 0);
		lcdPrintStr((uint8_t*)"W", 1);

	}

	//voltageArray[test_counter] = voltage_test;
	//temperaturearray[test_counter] = temperature_arr[0];
	//test_counter ++;

	osDelay(100);
  }

  /* USER CODE END Start_Display_Task */
}
